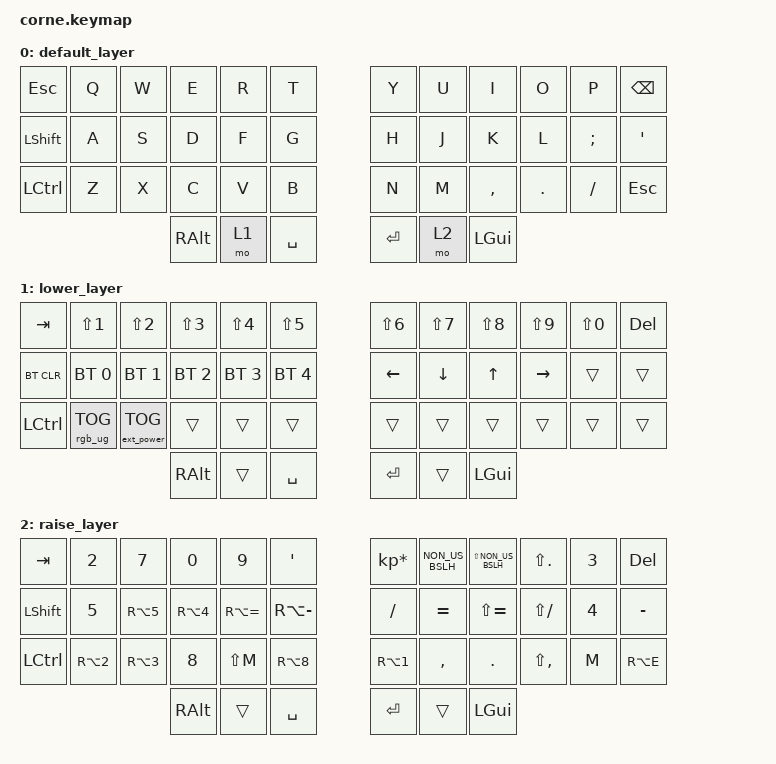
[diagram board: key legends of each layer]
/*
 * Copyright (c) 2020 The ZMK Contributors
 *
 * SPDX-License-Identifier: MIT
 */

#include <behaviors.dtsi>
#include <dt-bindings/zmk/keys.h>
#include <dt-bindings/zmk/bt.h>
#include <dt-bindings/zmk/rgb.h>
#include <dt-bindings/zmk/ext_power.h>

&led_strip {
  chain-length = <27>; // 21 backlight + 6 underglow
};

/ {
        keymap {
                compatible = "zmk,keymap";

                default_layer {
// -----------------------------------------------------------------------------------------
// |  ESC |  Q  |  W  |  E  |  R  |  T  |   |  Y  |  U   |  I  |  O  |  P  | BSPC |
// | SHFT |  A  |  S  |  D  |  F  |  G  |   |  H  |  J   |  K  |  L  |  ;  |  '   |
// | CTRL |  Z  |  X  |  C  |  V  |  B  |   |  N  |  M   |  ,  |  .  |  /  | ESC  |
//                    | ALT | LWR | SPC |   | ENT | RSE  | GUI |
                        bindings = <
   &kp ESC   &kp Q &kp W &kp E &kp R &kp T   &kp Y &kp U  &kp I     &kp O   &kp P    &kp BSPC
   &kp LSHFT &kp A &kp S &kp D &kp F &kp G   &kp H &kp J  &kp K     &kp L   &kp SEMI &kp SQT
   &kp LCTRL &kp Z &kp X &kp C &kp V &kp B   &kp N &kp M  &kp COMMA &kp DOT &kp FSLH &kp ESC
                  &kp RALT &mo 1 &kp SPACE   &kp RET &mo 2 &kp LGUI
                        >;
                };
                lower_layer {
// -----------------------------------------------------------------------------------------
// |  TAB |  1  |  2  |  3  |  4  |  5  |   |  6  |  7  |  8  |  9  |  0  | DEL |
// | BTCLR| BT1 | BT2 | BT3 | BT4 | BT5 |   | LFT | DWN |  UP | RGT |     |      |
// | CTRL |RGBTOG|EPtog|     |     |     |   |     |     |     |     |     |      |
//                    | ALT |     | SPC |   | ENT |     | GUI |
                        bindings = <
   &kp TAB    &kp LS(N1)       &kp LS(N2)        &kp LS(N3)   &kp LS(N4)   &kp LS(N5)     &kp LS(N6) &kp LS(N7) &kp LS(N8) &kp LS(N9) &kp LS(N0) &kp DEL
   &bt BT_CLR &bt BT_SEL 0     &bt BT_SEL 1      &bt BT_SEL 2 &bt BT_SEL 3 &bt BT_SEL 4   &kp LEFT   &kp DOWN   &kp UP     &kp RIGHT  &trans     &trans
   &kp LCTRL  &rgb_ug RGB_TOG  &ext_power EP_TOG  &trans       &trans       &trans         &trans     &trans     &trans     &trans     &trans     &trans
                                    &kp RALT     &trans       &kp SPACE      &kp RET  &trans   &kp LGUI
                        >;
                };

                raise_layer {
// -----------------------------------------------------------------------------------------
// Belgian AZERTY layout — AltGr combos (RA) may need verification in macOS Keyboard Viewer
// -----------------------------------------------------------------------------------------
// | TAB  |  é  |  è  |  à  |  ç  |  ù  |   |  *  |  <  |  >  |  /  |  "  | DEL |
// | SHFT |  (  |  [  |  {  |  }  |  ]  |   |  =  |  -  |  _  |  +  |  '  |  )   |
// | CTRL |  @  |  #  |  !  |  ?  |  \  |   |  |  |  ;  |  :  |  .  |  ,  |  €   |
//                    | ALT |     | SPC |   | ENT |     | GUI |
                        bindings = <
   &kp TAB    &kp N2     &kp N7      &kp N0        &kp N9      &kp SQT       &kp KP_ASTERISK  &kp NON_US_BSLH  &kp LS(NON_US_BSLH)  &kp LS(DOT)   &kp N3    &kp DEL
   &kp LSHFT  &kp N5     &kp RA(N5)  &kp RA(N4)    &kp RA(EQUAL) &kp RA(MINUS) &kp FSLH      &kp EQUAL        &kp LS(EQUAL)        &kp LS(FSLH)  &kp N4    &kp MINUS
   &kp LCTRL  &kp RA(N2) &kp RA(N3)  &kp N8        &kp LS(M)   &kp RA(N8)    &kp RA(N1)     &kp COMMA        &kp DOT              &kp LS(COMMA) &kp M     &kp RA(E)
                                     &kp RALT      &trans      &kp SPACE     &kp RET        &trans           &kp LGUI
                        >;
                };
        };
};
